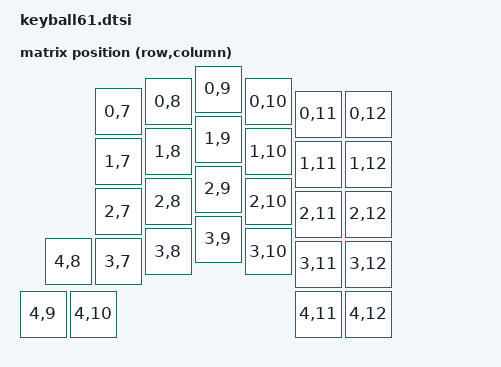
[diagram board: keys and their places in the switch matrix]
#include <physical_layouts.dtsi>
#include <zephyr/dt-bindings/input/input-event-codes.h>
#include <input/processors.dtsi>
#include <input/processors/runtime-input-processor.dtsi>
#include <dt-bindings/zmk/matrix_transform.h>

/ {
    chosen {
        zephyr,display = &oled;
        zmk,physical-layout = &keyball_physical_layout;
    };
    
    // 1. ZMK Studioなどの画面上で右手だけを表示する設定に修正
    keyball_physical_layout: keyball_physical_layout {
        compatible = "zmk,physical-layout";
        display-name = "Default";
        transform = <&default_transform>;
        kscan = <&kscan0>;

        keys  //                     w   h    x    y     rot    rx    ry
            = <&key_physical_attrs 100 100 1000   45       0     0     0>
            , <&key_physical_attrs 100 100 1100   25       0     0     0>
            , <&key_physical_attrs 100 100 1200    0       0     0     0>
            , <&key_physical_attrs 100 100 1300   25       0     0     0>
            , <&key_physical_attrs 100 100 1400   50       0     0     0>
            , <&key_physical_attrs 100 100 1500   50       0     0     0>
            , <&key_physical_attrs 100 100 1000  145       0     0     0>
            , <&key_physical_attrs 100 100 1100  125       0     0     0>
            , <&key_physical_attrs 100 100 1200  100       0     0     0>
            , <&key_physical_attrs 100 100 1300  125       0     0     0>
            , <&key_physical_attrs 100 100 1400  150       0     0     0>
            , <&key_physical_attrs 100 100 1500  150       0     0     0>
            , <&key_physical_attrs 100 100 1000  245       0     0     0>
            , <&key_physical_attrs 100 100 1100  225       0     0     0>
            , <&key_physical_attrs 100 100 1200  200       0     0     0>
            , <&key_physical_attrs 100 100 1300  225       0     0     0>
            , <&key_physical_attrs 100 100 1400  250       0     0     0>
            , <&key_physical_attrs 100 100 1500  250       0     0     0>
            , <&key_physical_attrs 100 100  900  345       0     0     0>
            , <&key_physical_attrs 100 100 1000  345       0     0     0>
            , <&key_physical_attrs 100 100 1100  325       0     0     0>
            , <&key_physical_attrs 100 100 1200  300       0     0     0>
            , <&key_physical_attrs 100 100 1300  325       0     0     0>
            , <&key_physical_attrs 100 100 1400  350       0     0     0>
            , <&key_physical_attrs 100 100 1500  350       0     0     0>
            , <&key_physical_attrs 100 100  850  450       0     0     0>
            , <&key_physical_attrs 100 100  950  450       0     0     0>
            , <&key_physical_attrs 100 100 1400  450       0     0     0>
            , <&key_physical_attrs 100 100 1500  450       0     0     0>
            ;
    };

    // 2. マトリックス変換を右手側（RC(x, 7)以降と親指周辺）のみに削減
    default_transform: keymap_transform_0 {
        compatible = "zmk,matrix-transform";
        columns = <13>;
        rows = <5>;

        map = <
            RC(0,7) RC(0,8) RC(0,9) RC(0,10) RC(0,11) RC(0,12)
            RC(1,7) RC(1,8) RC(1,9) RC(1,10) RC(1,11) RC(1,12)
            RC(2,7) RC(2,8) RC(2,9) RC(2,10) RC(2,11) RC(2,12)
            RC(4,8) RC(3,7) RC(3,8) RC(3,9) RC(3,10) RC(3,11) RC(3,12)
            RC(4,9) RC(4,10)                         RC(4,11) RC(4,12)
        >;
    };
	
    kscan0: kscan {
        compatible = "zmk,kscan-gpio-matrix";
        label = "KSCAN";
        wakeup-source;

        diode-direction = "col2row";
    };
};

&spi1 {
    trackball: trackball@0 {
        compatible = "cormoran,pmw3610";
        reg = <0>;
        // 3. 右手単独で動かすため、トラックボールのステータスを有効化
        status = "okay";
    };
};
